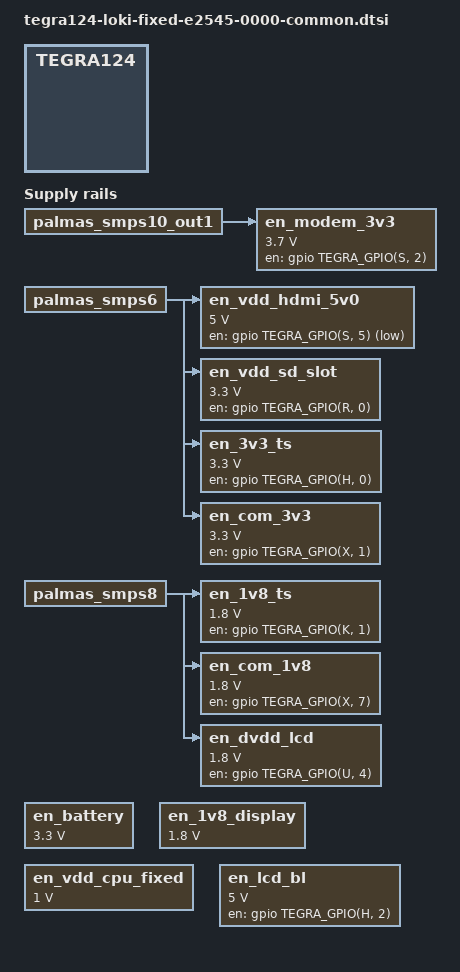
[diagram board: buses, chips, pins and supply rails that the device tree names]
#include <dt-bindings/gpio/tegra-gpio.h>

/ {
	regulators {
		compatible = "simple-bus";
		device_type = "fixed-regulators";
		#address-cells = <1>;
		#size-cells = <0>;

		en_battery: regulator@0 {
			compatible = "regulator-fixed";
			reg = <0>;
			regulator-name = "vdd_ac_bat";
			regulator-min-microvolt = <3300000>;
			regulator-max-microvolt = <3300000>;
			regulator-always-on;

			consumers {
				c0 {
					regulator-consumer-supply = "vdd_sys_bl";
				};
				c1 {
					regulator-consumer-supply = "usb_vbus";
					regulator-consumer-device = "tegra-ehci.1";
				};
				c2 {
					regulator-consumer-supply = "usb_vbus";
					regulator-consumer-device = "tegra-ehci.2";
				};
				c5 {
					regulator-consumer-supply = "vddio_pex_sata";
					regulator-consumer-device = "tegra-sata.0";
				};
			};
		};

		en_modem_3v3: regulator@1 {
			compatible = "regulator-fixed-sync";
			reg = <1>;
			regulator-name = "vdd-wwan";
			regulator-min-microvolt = <3700000>;
			regulator-max-microvolt = <3700000>;
			gpio = <&gpio TEGRA_GPIO(S, 2) 0>;
			enable-active-high;
			vin-supply = <&palmas_smps10_out1>;

			consumers {
				c0 {
					regulator-consumer-supply = "vdd_wwan_mdm";
				};
			};
		};

		en_vdd_hdmi_5v0: regulator@2 {
			compatible = "regulator-fixed-sync";
			reg = <2>;
			regulator-name = "vdd-hdmi-5v0";
			regulator-min-microvolt = <5000000>;
			regulator-max-microvolt = <5000000>;
			gpio = <&gpio TEGRA_GPIO(S, 5) 0>;
			vin-supply = <&palmas_smps6>;
			startup-delay-us = <5000>;

			consumers {
				c0 {
					regulator-consumer-supply = "vdd_hdmi_5v0";
					regulator-consumer-device = "tegradc.0";
				};
				c1 {
					regulator-consumer-supply = "vdd_hdmi_5v0";
					regulator-consumer-device = "tegradc.1";
				};
			};
		};

		en_vdd_sd_slot: regulator@3 {
			compatible = "regulator-fixed-sync";
			reg = <3>;
			regulator-name = "vdd-sd2-slot";
			regulator-min-microvolt = <3300000>;
			regulator-max-microvolt = <3300000>;
			regulator-always-on;
			gpio = <&gpio TEGRA_GPIO(R, 0) 0>;
			enable-active-high;
			vin-supply = <&palmas_smps6>;

			consumers {
				c0 {
					regulator-consumer-supply = "vddio_sd_slot";
					regulator-consumer-device = "sdhci-tegra.2";
				};
			};
		};

		en_1v8_ts: regulator@4 {
			compatible = "regulator-fixed-sync";
			reg = <4>;
			regulator-name = "vdd-ts-1v8";
			regulator-min-microvolt = <1800000>;
			regulator-max-microvolt = <1800000>;
			gpio = <&gpio TEGRA_GPIO(K, 1) 0>;
			enable-active-high;
			vin-supply = <&palmas_smps8>;

			consumers {
				c0 {
					regulator-consumer-supply = "dvdd";
					regulator-consumer-device = "spi0.0";
				};
			};
		};

		en_3v3_ts: regulator@5 {
			compatible = "regulator-fixed-sync";
			reg = <5>;
			regulator-name = "vdd-ts-3v3";
			regulator-min-microvolt = <3300000>;
			regulator-max-microvolt = <3300000>;
			gpio = <&gpio TEGRA_GPIO(H, 0) 0>;
			enable-active-high;
			vin-supply = <&palmas_smps6>;

			consumers {
				c0 {
					regulator-consumer-supply = "avdd";
					regulator-consumer-device = "spi0.0";
				};
			};
		};

		en_1v8_display: regulator@6 {
			compatible = "regulator-fixed";
			reg = <6>;
			regulator-name = "display-1v8";
			regulator-min-microvolt = <1800000>;
			regulator-max-microvolt = <1800000>;

			consumers {
				c0 {
					regulator-consumer-supply = "vdd_lcd_1v8_s";
				};
			};
		};

		en_vdd_cpu_fixed: regulator@7 {
			compatible = "regulator-fixed";
			reg = <7>;
			regulator-name = "vdd-cpu-fixed";
			regulator-min-microvolt = <1000000>;
			regulator-max-microvolt = <1000000>;
			consumers {
				c0 {
					regulator-consumer-supply = "vdd_cpu_fixed";
				};
			};
		};

		en_lcd_bl: regulator@8 {
			compatible = "regulator-fixed-sync";
			reg = <8>;
			regulator-name = "lcd-bl";
			regulator-min-microvolt = <5000000>;
			regulator-max-microvolt = <5000000>;
			regulator-boot-on;
			gpio = <&gpio TEGRA_GPIO(H, 2) 0>;
			enable-active-high;
			startup-delay-us = <1000>;
			consumers {
				c0 {
					regulator-consumer-supply = "vdd_lcd_bl_en";
				};
			};
		};

		en_com_3v3: regulator@9 {
			compatible = "regulator-fixed-sync";
			reg = <9>;
			regulator-name = "vdd-com-3v3";
			regulator-min-microvolt = <3300000>;
			regulator-max-microvolt = <3300000>;
			gpio = <&gpio TEGRA_GPIO(X, 1) 0>;
			enable-active-high;
			vin-supply = <&palmas_smps6>;
			startup-delay-us = <1000>;
			consumers {
				c0 {
					regulator-consumer-supply = "avdd";
					regulator-consumer-device = "bcm4329_wlan.1";
				};
				c1 {
					regulator-consumer-supply = "avdd";
					regulator-consumer-device = "bluedroid_pm.0";
				};
			};
		};

		en_com_1v8: regulator@10 {
			compatible = "regulator-fixed-sync";
			reg = <10>;
			regulator-name = "vdd-com-1v8";
			regulator-min-microvolt = <1800000>;
			regulator-max-microvolt = <1800000>;
			gpio = <&gpio TEGRA_GPIO(X, 7) 0>;
			enable-active-high;
			vin-supply = <&palmas_smps8>;
			startup-delay-us = <1000>;
			consumers {
				c0 {
					regulator-consumer-supply = "dvdd";
					regulator-consumer-device = "bcm4329_wlan.1";
				};
				c1 {
					regulator-consumer-supply = "dvdd";
					regulator-consumer-device = "bluedroid_pm.0";
				};
			};
		};

		en_dvdd_lcd: regulator@11 {
			compatible = "regulator-fixed-sync";
			reg = <11>;
			regulator-name = "dvdd-lcd";
			regulator-min-microvolt = <1800000>;
			regulator-max-microvolt = <1800000>;
			regulator-boot-on;
			gpio = <&gpio TEGRA_GPIO(U, 4) 0>;
			enable-active-high;
			vin-supply = <&palmas_smps8>;
			consumers {
				c0 {
					regulator-consumer-supply = "dvdd_lcd";
				};
			};
		};
	};
};
